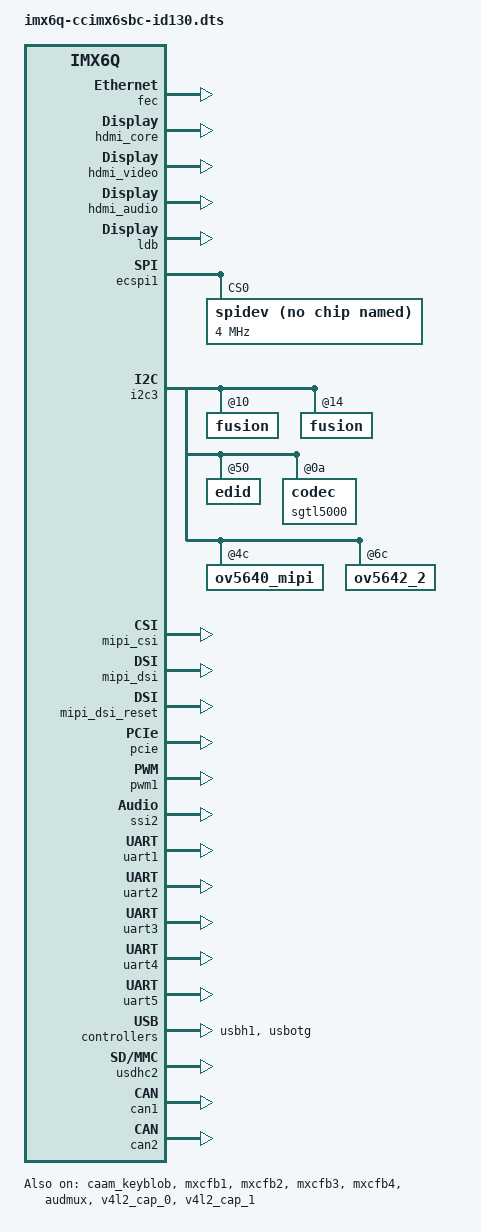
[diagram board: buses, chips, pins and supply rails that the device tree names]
/*
 * Copyright 2016 Digi International, Inc.
 *
 * The code contained herein is licensed under the GNU General Public
 * License. You may obtain a copy of the GNU General Public License
 * Version 2 or later at the following locations:
 *
 * http://www.opensource.org/licenses/gpl-license.html
 * http://www.gnu.org/copyleft/gpl.html
 */

/dts-v1/;
#include <dt-bindings/gpio/gpio.h>
/* i.MX6 Quad/Dual CPU */
#include "imx6q.dtsi"
/* ConnectCore 6 (Quad wireless/bluetooth variant) */
#include "imx6q-ccimx6-wb.dtsi"
/* ConnectCore 6 Quad/Dual SBC carrier board */
#include "imx6q-ccimx6sbc.dtsi"

&fec {
	status = "okay";
};

&hdmi_core {
	status = "okay";
};

&hdmi_video {
	status = "okay";
};

&hdmi_audio {
	status = "okay";
};

&sound_hdmi {
	status = "okay";
};

&sound_sgtl5000 {
	status = "okay";
};

&codec_power {
	status = "okay";
};

&caam_keyblob {
	status = "okay";
};

&ldb {
	status = "okay";

	lvds-channel@0 {
		status = "okay";
	};
};

&mxcfb1 {
	status = "okay";
};

&mxcfb2 {
	status = "okay";
};

&mxcfb3 {
	status = "okay";
};

&mxcfb4 {
	status = "okay";
};

&audmux {
	status = "okay";
};

&ecspi1 {
	status = "okay";

	/*
	 * Add your slave devices here. Next is an example of spidev.
	 * Expect a harmless kernel warning if you enable spidev as slave.
	 */
	spidev@0 {
		reg = <0>;
		compatible = "spidev";
		spi-max-frequency = <4000000>;
	};
};

&i2c3 {
	status = "okay";

	fusion@10 {
		status = "okay";
	};

	/*
	 * Fusion touch controller has I2C address 0x10. If using the latest Video Adapter Board,
	 * an I2C-address translator moves it to address 0x14. This device tree has two 'fusion'
	 * entries (one at 0x10 and another at 0x14), so that the touch works out of the box in old
	 * and new displays, although this will make the kernel complain for the entry where the touch
	 * does not respond. You can remove the 'fusion' node that doesn't match your display
	 * to avoid this error message.
	 */
	fusion@14 {
		status = "okay";
	};

	/* Uncomment to enable the goodix touch, used with g101evn010 */
	//goodix_touch: gt911@14 {
	//	skip-firmware-request;
	//	status = "okay";
	//};

	edid@50 {
		status = "okay";
	};

	sgtl5000: codec@0a {
		status = "okay";
	};

	/* MIPI-CSI2 camera */
	ov5640_mipi: ov5640_mipi@4c {
		status = "okay";
	};

	/* Parallel camera CSI1 */
	ov5642_2: ov5642_2@6c {
		status = "okay";
	};
};

&mipi_csi {
	status = "okay";
};

&mipi_dsi {
	status = "okay";
};

&mipi_dsi_reset {
	status = "okay";
};

&pcie {
	status = "okay";
};

/* PWM1 on pin 10 of LCD connector */
&pwm1 {
	status = "okay";
};

&ssi2 {
	status = "okay";
};

&uart1 {
	status = "okay";
};

&uart2 {
	status = "okay";
};

&uart3 {
	status = "okay";
};

&uart4 {
	status = "okay";
};

&uart5 {
	status = "okay";
};

&usbh1 {
	status = "okay";
};

&usbotg {
	status = "okay";
};

&usdhc2 {
	status = "okay";
};

&can1 {
	status = "okay";
};

&can2 {
	status = "okay";
};

&v4l2_cap_0 {
	status = "okay";
};

&v4l2_cap_1 {
	ipu_id = <1>;
	csi_id = <1>;
	status = "okay";
};

&v4l2_out {
	status = "okay";
};
